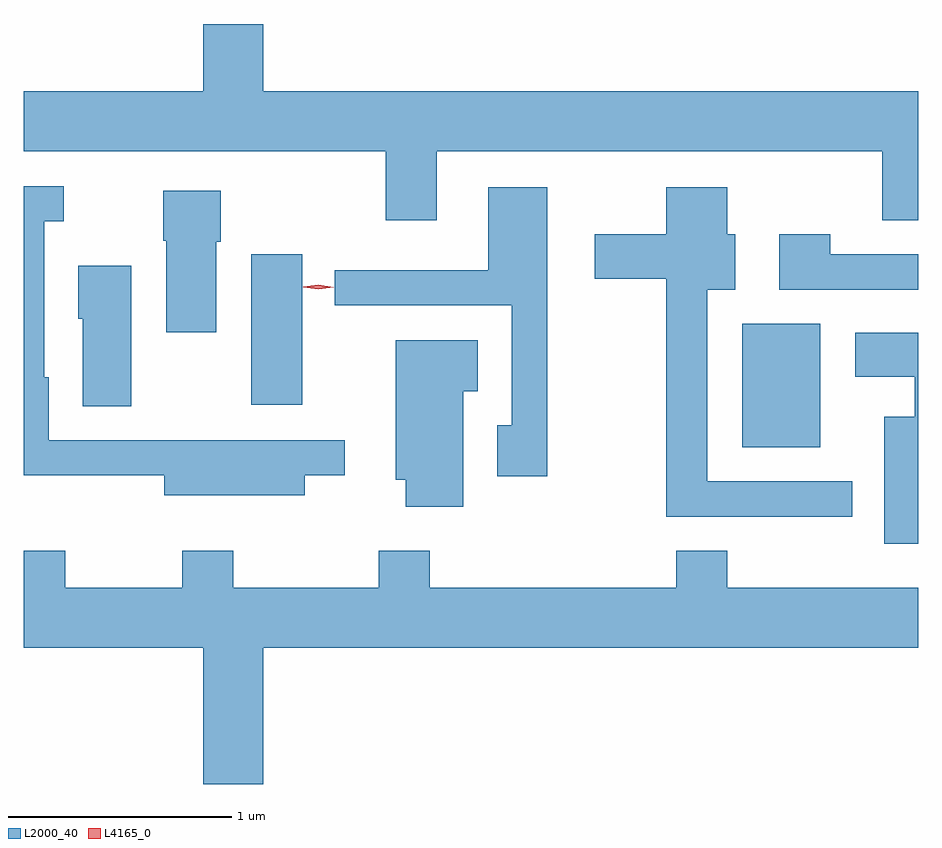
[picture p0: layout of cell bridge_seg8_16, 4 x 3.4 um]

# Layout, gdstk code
import gdstk
lib = gdstk.Library(unit=1e-6, precision=1e-09)
def R(c, l, rs):  # rectangles x0, y0, x1, y1
    for r in rs: c.add(gdstk.rectangle(r[:2], r[2:], *l))
def P(c, l, *ps):  # polygons
    for p in ps: c.add(gdstk.Polygon(p, *l))
L2000_40 = (2000, 40)
L4165_0 = (4165, 0)

bridge_seg8_16 = lib.new_cell('bridge_seg8_16')
R(bridge_seg8_16, L2000_40, [(1735.966,1932.771,1736.314,1933.324), (1733.771,1932.961,1733.999,1933.634)])
P(bridge_seg8_16, L2000_40, [(1734.599,1934.096),(1736.591,1934.096),(1736.591,1933.786),(1736.753,1933.786),(1736.753,1934.364),(1733.824,1934.364),(1733.824,1934.664),(1733.556,1934.664),(1733.556,1934.364),(1732.753,1934.364),(1732.753,1934.096),(1734.371,1934.096),(1734.371,1933.786),(1734.599,1933.786)],
  [(1734.009,1932.646),(1734.188,1932.646),(1734.188,1932.804),(1732.864,1932.804),(1732.864,1933.084),(1732.844,1933.084),(1732.844,1933.781),(1732.933,1933.781),(1732.933,1933.939),(1732.753,1933.939),(1732.753,1932.646),(1733.381,1932.646),(1733.381,1932.556),(1734.009,1932.556)],
  [(1735.094,1933.934),(1734.831,1933.934),(1734.831,1933.564),(1734.143,1933.564),(1734.143,1933.406),(1734.936,1933.406),(1734.936,1932.869),(1734.871,1932.869),(1734.871,1932.641),(1735.094,1932.641)],
  [(1736.458,1932.619),(1735.809,1932.619),(1735.809,1933.476),(1735.934,1933.476),(1735.934,1933.724),(1735.899,1933.724),(1735.899,1933.934),(1735.626,1933.934),(1735.626,1933.724),(1735.306,1933.724),(1735.306,1933.526),(1735.626,1933.526),(1735.626,1932.461),(1736.458,1932.461)],
  [(1733.614,1933.691),(1733.634,1933.691),(1733.634,1933.919),(1733.376,1933.919),(1733.376,1933.695),(1733.391,1933.695),(1733.391,1933.286),(1733.614,1933.286)],
  [(1736.753,1933.634),(1736.359,1933.634),(1736.359,1933.724),(1736.131,1933.724),(1736.131,1933.476),(1736.753,1933.476)],
  [(1733.234,1933.584),(1732.996,1933.584),(1732.996,1933.346),(1733.016,1933.346),(1733.016,1932.956),(1733.234,1932.956)],
  [(1736.753,1933.284),(1736.471,1933.284),(1736.471,1933.086),(1736.736,1933.086),(1736.736,1932.909),(1736.601,1932.909),(1736.601,1932.341),(1736.753,1932.341)],
  [(1734.719,1933.021),(1734.784,1933.021),(1734.784,1933.249),(1734.416,1933.249),(1734.416,1932.626),(1734.461,1932.626),(1734.461,1932.506),(1734.719,1932.506)],
  [(1736.753,1932.144),(1735.899,1932.144),(1735.899,1932.309),(1735.671,1932.309),(1735.671,1932.144),(1734.569,1932.144),(1734.569,1932.309),(1734.341,1932.309),(1734.341,1932.144),(1733.689,1932.144),(1733.689,1932.309),(1733.461,1932.309),(1733.461,1932.144),(1732.939,1932.144),(1732.939,1932.309),(1732.753,1932.309),(1732.753,1931.876),(1733.556,1931.876),(1733.556,1931.266),(1733.824,1931.266),(1733.824,1931.876),(1736.753,1931.876)])
P(bridge_seg8_16, L4165_0, [(1734.071,1933.478),(1734.003,1933.488),(1734.002,1933.488),(1734.003,1933.489),(1734.071,1933.498),(1734.14,1933.488),(1734.14,1933.488),(1734.14,1933.487)],
  [(1734.071,1933.478),(1734.005,1933.487),(1734.005,1933.488),(1734.005,1933.488),(1734.071,1933.498),(1734.137,1933.488),(1734.137,1933.488),(1734.137,1933.487)])

lib.write_gds('bridge_seg8_16.gds')
